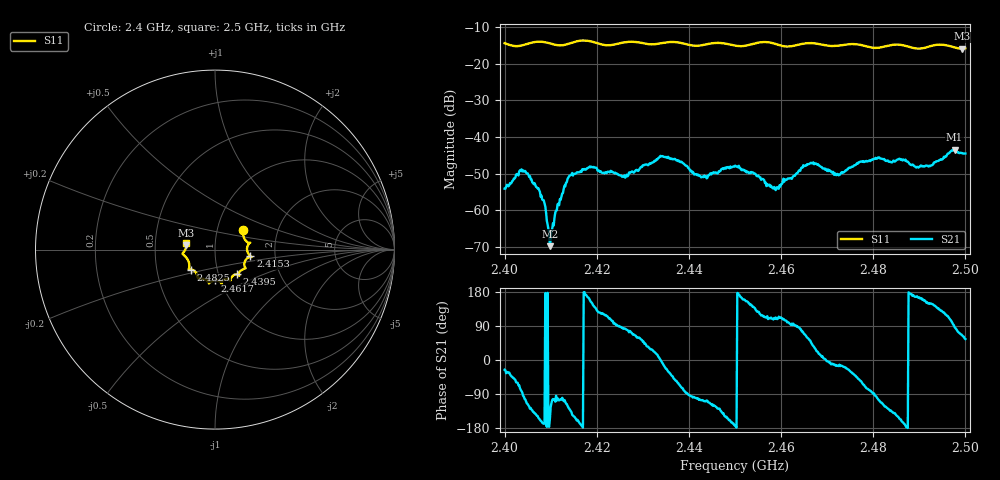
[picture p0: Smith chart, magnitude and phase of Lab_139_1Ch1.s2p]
# Hz S RI R 50
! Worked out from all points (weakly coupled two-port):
!   601 points, 2.4 GHz to 2.5 GHz, reference 50 ohm
!   highest |S21| = -43.46 dB at 2.4977 GHz (marker M1); lowest = -69.8 dB at 2.4098 GHz (marker M2)
!   lowest |S11| = -15.9 dB at 2.4993 GHz (marker M3), VSWR 1.38, Z = 36.2 + j1.72 ohm
!   |S11| at or under -10 dB: start of sweep to end of sweep
!   S12 and S22 are empty: the file has one direction only
!   S11 on the Smith chart (normalised r, x): 2.4 GHz: 1.33, +0.30; 2.4153 GHz: 1.48, -0.12; 2.4395 GHz: 1.22, -0.35; 2.4617 GHz: 0.94, -0.33; 2.4825 GHz: 0.75, -0.17; 2.5 GHz: 0.72, +0.05
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2.4e9  0.1568 0.109  0.00178 -0.000859  0 0  0 0
2.405e9  0.1833 0.0396  -0.00141 -0.00287  0 0  0 0
2.408167e9  0.1957 0.0382  -0.00136 -0.000352  0 0  0 0
2.409833e9  0.1875 0.0311  -0.000293 -0.000142  0 0  0 0
2.413333e9  0.1827 -0.016  -0.00102 -0.00216  0 0  0 0
2.415333e9  0.1969 -0.0374  -0.00281 -0.00145  0 0  0 0
2.416667e9  0.2035 -0.0418  -0.00332 -0.000408  0 0  0 0
2.426167e9  0.1691 -0.1012  0.000359 0.00277  0 0  0 0
2.433333e9  0.133 -0.133  0.00511 0.000821  0 0  0 0
2.4395e9  0.1227 -0.1379  0.000244 -0.00406  0 0  0 0
2.4435e9  0.0884 -0.16  -0.000904 -0.00274  0 0  0 0
2.45e9  0.0667 -0.1644  -0.00405 -0.000445  0 0  0 0
2.4585e9  0.035 -0.1859  -0.000744 0.00195  0 0  0 0
2.461667e9  0.000736 -0.172  -0.000418 0.00269  0 0  0 0
2.466667e9  -0.034 -0.1887  0.00322 0.003  0 0  0 0
2.472333e9  -0.0715 -0.1613  0.003 -0.000844  0 0  0 0
2.4825e9  -0.132 -0.111  -0.00265 -0.00412  0 0  0 0
2.483333e9  -0.1393 -0.1103  -0.00294 -0.00359  0 0  0 0
2.492333e9  -0.1702 -0.0335  -0.00347 0.00204  0 0  0 0
2.497667e9  -0.1669 -0.00245  0.000401 0.0067  0 0  0 0
2.499333e9  -0.1594 0.0231  0.00262 0.00547  0 0  0 0
2.5e9  -0.1594 0.0349  0.00341 0.00491  0 0  0 0
